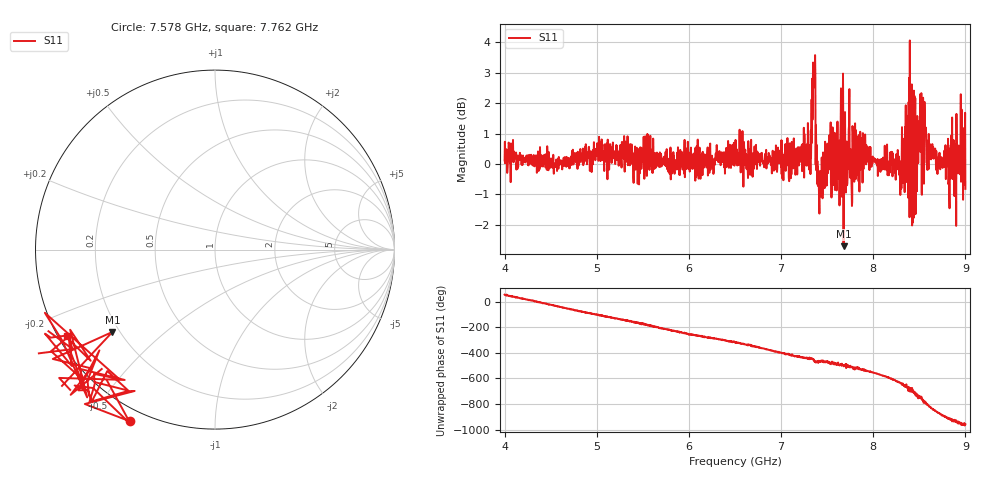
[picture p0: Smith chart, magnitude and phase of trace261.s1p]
! Created with skrf 1.8.0 (http://scikit-rf.org).
# Hz S RI R 50.0
!freq ReS11 ImS11
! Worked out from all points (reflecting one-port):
!   1601 points, 4 GHz to 9 GHz, reference 50 ohm
!   lowest |S11| = -2.7 dB at 7.678 GHz (marker M1), VSWR 6.47, Z = 8.65 - j17.1 ohm
!   phase of S11 starts at 54 deg and turns -1012 deg over the sweep
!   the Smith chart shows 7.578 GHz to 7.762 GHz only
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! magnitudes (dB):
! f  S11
! 4 GHz  0.1
! 4.625 GHz  -0.2
! 5.25 GHz  0.2
! 5.875 GHz  0.3
! 6.5 GHz  0.2
! 7.125 GHz  0.5
! 7.294 GHz  0.5
! 7.319 GHz  -0.3
! 7.347 GHz  3.3
! 7.369 GHz  3.6
! 7.4 GHz  -0.1
! 7.428 GHz  -0.2
! 7.512 GHz  0.6
! 7.609 GHz  0.5
! 7.65 GHz  2.5
! 7.678 GHz  -2.7
! 7.703 GHz  -0.9
! 7.75 GHz  -0.5
! 7.769 GHz  -1.4
! 7.891 GHz  0.2
! 8.316 GHz  0.0
! 8.334 GHz  -0.3
! 8.375 GHz  1.3
! 8.425 GHz  -1.2
! 8.497 GHz  1.4
! 8.841 GHz  0.6
! 8.972 GHz  0.8
! 9 GHz  -0.8
